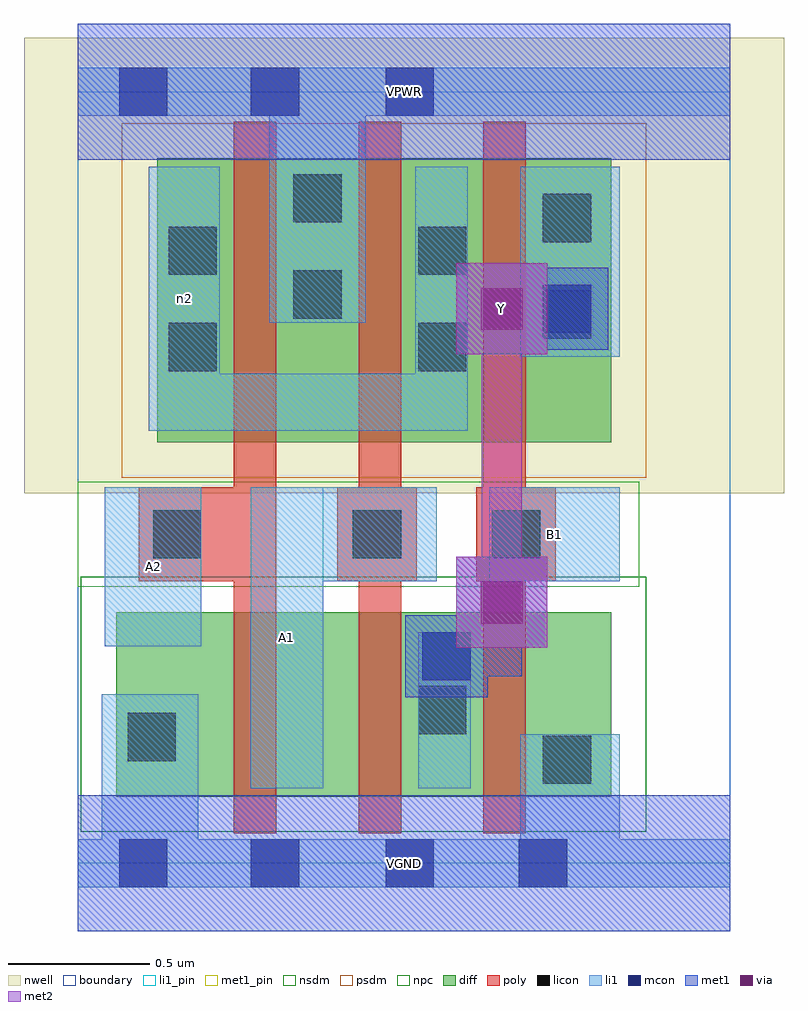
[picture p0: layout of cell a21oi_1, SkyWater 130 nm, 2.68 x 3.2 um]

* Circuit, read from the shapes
.subckt a21oi_1 A1 A2 B1 VGND VPWR Y n2
XM1 n1 A2 VGND VSUBS sky130_fd_pr__nfet_01v8 w=0.65 l=0.15
XM2 Y A1 n1 VSUBS sky130_fd_pr__nfet_01v8 w=0.65 l=0.15
XM3 VGND B1 Y VSUBS sky130_fd_pr__nfet_01v8 w=0.65 l=0.15
XM4 VPWR A2 n2 n3 sky130_fd_pr__pfet_01v8 w=1 l=0.15
XM5 n2 A1 VPWR n3 sky130_fd_pr__pfet_01v8 w=1 l=0.15
XM6 Y B1 n2 n3 sky130_fd_pr__pfet_01v8 w=1 l=0.15
.ends

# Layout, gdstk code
import gdstk
lib = gdstk.Library(unit=1e-6, precision=1e-09)
def R(c, l, rs):  # rectangles x0, y0, x1, y1
    for r in rs: c.add(gdstk.rectangle(r[:2], r[2:], *l))
def A(c, l, x, y, w, h, nx, ny, dx, dy):  # array of equal rectangles
    R(c, l, [(x+i*dx, y+j*dy, x+i*dx+w, y+j*dy+h) for i in range(nx) for j in range(ny)])
nwell = (64, 20)
diff = (65, 20)
poly = (66, 20)
licon = (66, 44)
li1_pin = (67, 16)
li1 = (67, 20)
mcon = (67, 44)
met1_pin = (68, 16)
met1 = (68, 20)
via = (68, 44)
met2 = (69, 20)
nsdm = (93, 44)
psdm = (94, 20)
npc = (95, 20)
boundary = (235, 4)

a21oi_1 = lib.new_cell('a21oi_1')
R(a21oi_1, nwell, [(-0.19,1.305,2.49,2.91), (0,1.305,2.3,2.91)])
R(a21oi_1, diff, [(0.135,0.235,1.88,0.885), (0.28,1.485,1.88,2.485)])
A(a21oi_1, poly, 0.55, 0.105, 0.15, 2.51, 3, 1, 0.44, 0)
R(a21oi_1, poly, [(0.215,0.995,0.7,1.325), (0.915,0.995,1.195,1.325), (1.405,0.995,1.685,1.325)])
R(a21oi_1, licon, [(1.64,0.28,1.81,0.45), (0.175,0.36,0.345,0.53), (1.2,0.455,1.37,0.625), (0.265,1.075,0.435,1.245), (0.97,1.075,1.14,1.245), (1.46,1.075,1.63,1.245), (0.32,1.735,0.49,1.905), (1.2,1.735,1.37,1.905), (1.64,1.85,1.81,2.02), (0.76,1.92,0.93,2.09), (0.32,2.075,0.49,2.245), (1.2,2.075,1.37,2.245), (1.64,2.19,1.81,2.36), (0.76,2.26,0.93,2.43)])
R(a21oi_1, li1_pin, [(0.61,0.265,0.865,1.325), (0.095,0.765,0.435,1.325), (1.45,0.995,1.91,1.325)])
R(a21oi_1, li1, [(0,-0.085,2.3,0.085), (0.085,-0.085,0.425,0.595), (1.56,-0.085,1.91,0.455), (0.61,0.265,0.865,1.325), (1.2,0.265,1.385,0.815), (0.095,0.765,0.435,1.325), (0.61,0.995,1.265,1.325), (1.45,0.995,1.91,1.325), (0.25,1.525,0.5,2.455), (0.25,1.525,1.375,1.725), (1.19,1.525,1.375,2.455), (1.56,1.785,1.91,2.455), (0.675,1.905,1.015,2.805), (0,2.635,2.3,2.805)])
R(a21oi_1, mcon, [(0.145,-0.085,0.315,0.085), (0.61,-0.085,0.78,0.085), (1.085,-0.085,1.255,0.085), (1.555,-0.085,1.725,0.085), (1.215,0.645,1.385,0.815), (1.64,1.87,1.81,2.04), (0.145,2.635,0.315,2.805), (0.61,2.635,0.78,2.805), (1.085,2.635,1.255,2.805)])
R(a21oi_1, met1_pin, [(0,-0.24,2.3,0.24), (1.335,1.795,1.655,2.115), (0,2.48,2.3,2.96)])
R(a21oi_1, met1, [(0,-0.24,2.3,0.24), (1.155,0.585,1.445,0.875), (1.23,0.66,1.565,0.8), (1.425,0.66,1.565,0.99), (1.335,0.76,1.655,1.08), (1.335,1.795,1.655,2.115), (1.58,1.81,1.87,2.1), (1.425,1.885,1.795,2.025), (0,2.48,2.3,2.96)])
R(a21oi_1, via, [(1.42,0.845,1.57,0.995), (1.42,1.88,1.57,2.03)])
R(a21oi_1, met2, [(1.335,0.76,1.655,1.08), (1.425,0.85,1.565,2.025), (1.335,1.795,1.655,2.115)])
R(a21oi_1, nsdm, [(0.01,0.11,2.005,1.01)])
R(a21oi_1, psdm, [(0.155,1.36,2.005,2.61)])
R(a21oi_1, npc, [(0,0.975,1.98,1.345)])
R(a21oi_1, boundary, [(0,0,2.3,2.72)])
a21oi_1.add(gdstk.Label('A1', (0.737,0.795), layer=67, texttype=5))
a21oi_1.add(gdstk.Label('A2', (0.265,1.045), layer=67, texttype=5))
a21oi_1.add(gdstk.Label('B1', (1.68,1.16), layer=67, texttype=5))
a21oi_1.add(gdstk.Label('n2', (0.375,1.99), layer=67, texttype=5))
a21oi_1.add(gdstk.Label('Y', (1.495,1.955), layer=68, texttype=5))
a21oi_1.add(gdstk.Label('VPWR', (1.15,2.72), layer=68, texttype=5))
a21oi_1.add(gdstk.Label('VGND', (1.15,0), layer=68, texttype=5))
a21oi_1.add(gdstk.Label('A1', (0.737,0.795), layer=67, texttype=16))
a21oi_1.add(gdstk.Label('A2', (0.265,1.045), layer=67, texttype=16))
a21oi_1.add(gdstk.Label('B1', (1.68,1.16), layer=67, texttype=16))
a21oi_1.add(gdstk.Label('Y', (1.495,1.955), layer=68, texttype=16))
a21oi_1.add(gdstk.Label('VPWR', (1.15,2.72), layer=68, texttype=16))
a21oi_1.add(gdstk.Label('VGND', (1.15,0), layer=68, texttype=16))

lib.write_gds('a21oi_1.gds')
